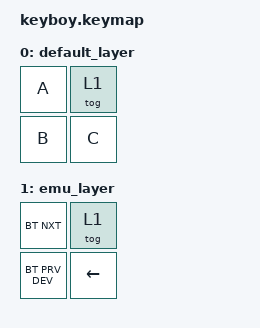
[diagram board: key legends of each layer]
#include <behaviors.dtsi>
#include <dt-bindings/zmk/keys.h>
#include <dt-bindings/zmk/bt.h>
//#include <locale/keys_sv.h>

/ {
    keymap {
        compatible = "zmk,keymap";

        default_layer {
            bindings = <
				&kp A &tog 1
				&kp B &kp C
            >;
        };
        emu_layer {
            bindings = <
				&bt BT_NXT &tog 1
				&bt BT_PRV_DEV &kp LEFT
            >;
        };
    };
};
